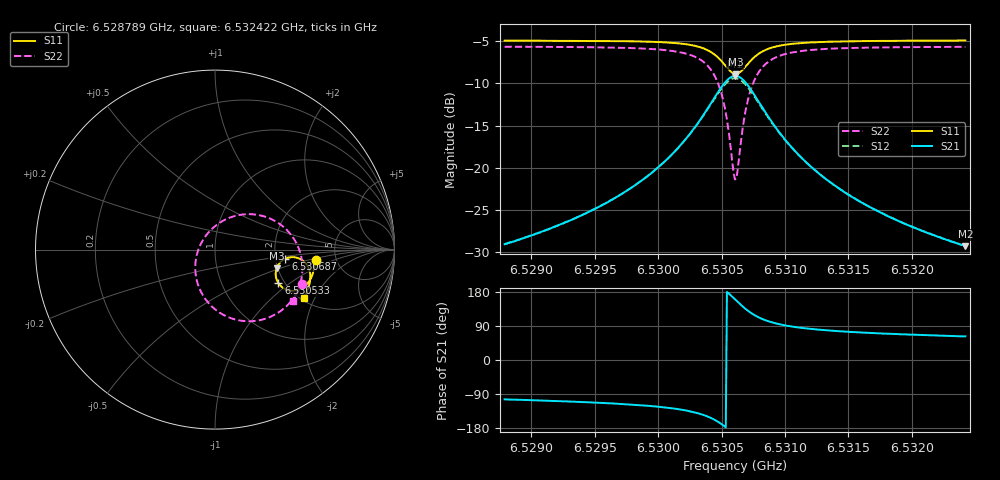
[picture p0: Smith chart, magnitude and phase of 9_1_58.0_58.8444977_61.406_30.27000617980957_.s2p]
#  HZ  S  RI  R  50.00
! Rohde & Schwarz Vector Network Analyzer
! Rohde-Schwarz,ZNB20-2Port,1311601062101988,3.16
! Created: UTC 3/21/2024, 12:50:41 AM
! freq[Hz]  re:S11  im:S11  re:S21  im:S21  re:S12  im:S12  re:S22  im:S22
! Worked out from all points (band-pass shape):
!   401 points, 6.528789 GHz to 6.532422 GHz, reference 50 ohm
!   highest |S21| = -9.14 dB at 6.530605 GHz (marker M1); lowest = -29.3 dB at 6.532422 GHz (marker M2)
!   |S21| within 3 dB of the highest: 6.530426 GHz to 6.530789 GHz (363.3 kHz wide, 0.00556 % of centre)
!   lowest |S11| = -8.9 dB at 6.530614 GHz (marker M3), VSWR 2.12, Z = 98.6 - j23.6 ohm
!   |S11| at or under -10 dB: nowhere
!   |S22| runs from -21.4 to -5.7 dB; largest |S21 - S12| = 0.015
!   S11 on the Smith chart (normalised r, x): 6.528789 GHz: 3.48, -0.59; 6.530533 GHz: 1.85, -0.82; 6.530687 GHz: 2.27, -0.27; 6.532422 GHz: 2.11, -1.65
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6.528789e9  0.5612 -0.0573  -0.00845 -0.0343  -0.00919 -0.0342  0.4828 -0.191
6.5293975e9  0.5519 -0.1106  -0.0187 -0.0489  -0.02 -0.0487  0.4502 -0.2528
6.5297426e9  0.5407 -0.1453  -0.0325 -0.0647  -0.0342 -0.0639  0.4143 -0.2989
6.530006e9  0.5243 -0.177  -0.0561 -0.0848  -0.0586 -0.083  0.3617 -0.3449
6.5302239e9  0.4942 -0.2096  -0.1033 -0.1088  -0.1067 -0.1049  0.2664 -0.3893
6.5303783e9  0.4442 -0.2293  -0.1835 -0.1162  -0.1862 -0.108  0.1195 -0.3913
6.5304691e9  0.3923 -0.221  -0.2652 -0.0833  -0.2635 -0.0715  -0.0155 -0.3189
6.5305055e9  0.3686 -0.205  -0.3006 -0.0492  -0.2954 -0.0367  -0.0681 -0.2536
6.5305327e9  0.353 -0.1865  -0.3227 -0.0124  -0.3145 -0.000491  -0.0973 -0.1874
6.5305872e9  0.3381 -0.1334  -0.3366 0.0849  -0.3235 0.0915  -0.1003 -0.0246
6.5306054e9  0.3406 -0.1138  -0.3283 0.1193  -0.3146 0.1234  -0.0799 0.0299
6.5306145e9  0.3434 -0.1041  -0.3217 0.1358  -0.3079 0.1386  -0.0659 0.0555
6.5306326e9  0.3519 -0.0864  -0.3038 0.1662  -0.2904 0.1666  -0.0308 0.1018
6.5306871e9  0.3928 -0.0503  -0.227 0.226  -0.218 0.2218  0.1061 0.1859
6.5307234e9  0.4232 -0.0423  -0.1733 0.2387  -0.1671 0.234  0.1977 0.1974
6.5307598e9  0.4499 -0.0438  -0.1272 0.2362  -0.1231 0.2319  0.2752 0.1847
6.5308778e9  0.5026 -0.0733  -0.0382 0.1913  -0.0367 0.1894  0.419 0.0881
6.531005e9  0.5233 -0.1072  -0.00266 0.1453  -0.00137 0.1443  0.471 -0.00498
6.5312139e9  0.5309 -0.1478  0.0145 0.099  0.0157 0.0987  0.4873 -0.1011
6.5314863e9  0.5279 -0.1842  0.0185 0.0679  0.0196 0.0677  0.4798 -0.1716
6.5318224e9  0.5187 -0.2182  0.0182 0.048  0.0191 0.0478  0.4633 -0.225
6.5324218e9  0.4984 -0.2671  0.016 0.0305  0.0166 0.0303  0.4325 -0.2862
